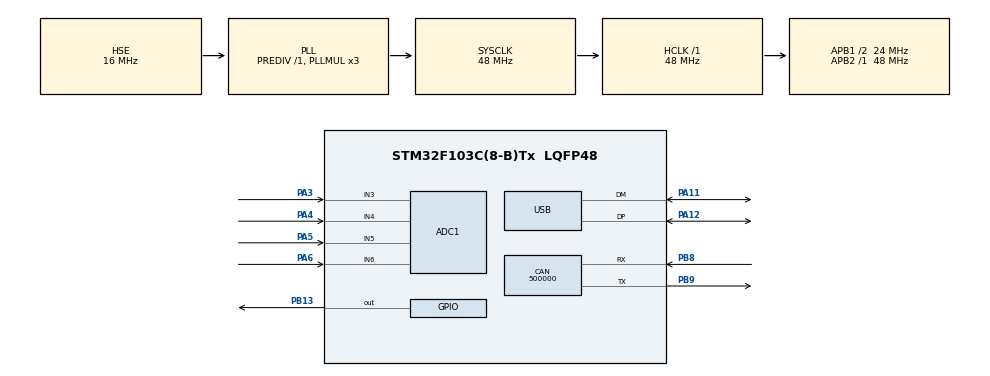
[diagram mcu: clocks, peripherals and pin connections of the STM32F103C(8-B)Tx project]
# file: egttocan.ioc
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ADC1.Channel-0\#ChannelRegularConversion=ADC_CHANNEL_3
ADC1.Channel-1\#ChannelRegularConversion=ADC_CHANNEL_4
ADC1.Channel-2\#ChannelRegularConversion=ADC_CHANNEL_5
ADC1.Channel-3\#ChannelRegularConversion=ADC_CHANNEL_6
ADC1.ContinuousConvMode=ENABLE
ADC1.NbrOfConversion=4
ADC1.NbrOfConversionFlag=1
ADC1.Rank-0\#ChannelRegularConversion=1
ADC1.Rank-1\#ChannelRegularConversion=2
ADC1.Rank-2\#ChannelRegularConversion=3
ADC1.Rank-3\#ChannelRegularConversion=4
ADC1.SamplingTime-0\#ChannelRegularConversion=ADC_SAMPLETIME_239CYCLES_5
ADC1.SamplingTime-1\#ChannelRegularConversion=ADC_SAMPLETIME_239CYCLES_5
ADC1.SamplingTime-2\#ChannelRegularConversion=ADC_SAMPLETIME_239CYCLES_5
ADC1.SamplingTime-3\#ChannelRegularConversion=ADC_SAMPLETIME_239CYCLES_5
ADC1.master=1
CAN.CalculateBaudRate=500000
CAN.CalculateTimeBit=2000
CAN.CalculateTimeQuantum=666.6666666666666
Dma.ADC1.0.Direction=DMA_PERIPH_TO_MEMORY
Dma.ADC1.0.Instance=DMA1_Channel1
Dma.ADC1.0.MemDataAlignment=DMA_MDATAALIGN_HALFWORD
Dma.ADC1.0.MemInc=DMA_MINC_ENABLE
Dma.ADC1.0.Mode=DMA_CIRCULAR
Dma.ADC1.0.PeriphDataAlignment=DMA_PDATAALIGN_HALFWORD
Dma.ADC1.0.PeriphInc=DMA_PINC_DISABLE
Dma.ADC1.0.Priority=DMA_PRIORITY_LOW
Dma.Request0=ADC1
Mcu.Family=STM32F1
Mcu.Name=STM32F103C(8-B)Tx
Mcu.Package=LQFP48
NVIC.DMA1_Channel1_IRQn=true\:2\:0\:true\:false\:true\:false\:true\:true
NVIC.PriorityGroup=NVIC_PRIORITYGROUP_4
NVIC.USB_LP_CAN1_RX0_IRQn=true\:0\:0\:false\:false\:true\:false\:true\:true
PA11.Mode=Device
PA11.Signal=USB_DM
PA12.Mode=Device
PA12.Signal=USB_DP
PA13.Mode=Serial_Wire
PA13.Signal=SYS_JTMS-SWDIO
PA14.Mode=Serial_Wire
PA14.Signal=SYS_JTCK-SWCLK
PA3.Signal=ADCx_IN3
PA4.Signal=ADCx_IN4
PA5.Signal=ADCx_IN5
PA6.Signal=ADCx_IN6
PB13.Signal=GPIO_Output
PB8.Mode=CAN_Activate
PB8.Signal=CAN_RX
PB9.Mode=CAN_Activate
PB9.Signal=CAN_TX
PD0-OSC_IN.Mode=HSE-External-Oscillator
PD0-OSC_IN.Signal=RCC_OSC_IN
PD1-OSC_OUT.Mode=HSE-External-Oscillator
PD1-OSC_OUT.Signal=RCC_OSC_OUT
ProjectManager.HeapSize=0x200
ProjectManager.StackSize=0x400
ProjectManager.TargetToolchain=STM32CubeIDE
RCC.ADCPresc=RCC_ADCPCLK2_DIV4
RCC.AHBFreq_Value=48000000
RCC.APB1CLKDivider=RCC_HCLK_DIV2
RCC.APB1Freq_Value=24000000
RCC.APB1TimFreq_Value=48000000
RCC.APB2Freq_Value=48000000
RCC.APB2TimFreq_Value=48000000
RCC.HCLKFreq_Value=48000000
RCC.HSE_VALUE=16000000
RCC.PLLMUL=RCC_PLL_MUL3
RCC.SYSCLKFreq_VALUE=48000000
RCC.SYSCLKSource=RCC_SYSCLKSOURCE_PLLCLK
RCC.USBFreq_Value=48000000
SH.ADCx_IN3.0=ADC1_IN3,IN3
SH.ADCx_IN4.0=ADC1_IN4,IN4
SH.ADCx_IN5.0=ADC1_IN5,IN5
SH.ADCx_IN6.0=ADC1_IN6,IN6
USB_DEVICE.CLASS_NAME_FS=CDC
USB_DEVICE.VirtualMode=Cdc
USB_DEVICE.VirtualModeFS=Cdc_FS
VP_USB_DEVICE_VS_USB_DEVICE_CDC_FS.Mode=CDC_FS
board=custom

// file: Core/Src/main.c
/* USER CODE BEGIN Header */
/**
  ******************************************************************************
  * @file           : main.c
  * @brief          : Main program body
  ******************************************************************************
  * @attention
  *
  * Copyright (c) 2024 STMicroelectronics.
  * All rights reserved.
  *
  * This software is licensed under terms that can be found in the LICENSE file
  * in the root directory of this software component.
  * If no LICENSE file comes with this software, it is provided AS-IS.
  *
  ******************************************************************************
  */
/* USER CODE END Header */
#include "main.h"
#include "usb_device.h"

/* USER CODE BEGIN Includes */
#include "usbd_cdc_if.h"
#include "string.h"
/* USER CODE END Includes */

ADC_HandleTypeDef hadc1;
DMA_HandleTypeDef hdma_adc1;

CAN_HandleTypeDef hcan;

void SystemClock_Config(void);
static void MX_GPIO_Init(void);
static void MX_DMA_Init(void);
static void MX_ADC1_Init(void);
static void MX_CAN_Init(void);
/* USER CODE BEGIN PFP */
uint16_t ADC_Conversion(uint16_t ucADCread);
uint16_t Thermocouple_Temp(uint16_t ADC_Voltage);
/* USER CODE END PFP */

/* USER CODE BEGIN 0 */
//uint8_t *data = "Hello World from USB CDC\n";
/* USER CODE END 0 */

int main(void)
{

  /* MCU Configuration--------------------------------------------------------*/

  /* Reset of all peripherals, Initializes the Flash interface and the Systick. */
  HAL_Init();

  /* Configure the system clock */
  SystemClock_Config();

  /* Initialize all configured peripherals */
  MX_GPIO_Init();
  MX_DMA_Init();
  MX_ADC1_Init();
  MX_CAN_Init();
  MX_USB_DEVICE_Init();

  /* Infinite loop */
  /* USER CODE BEGIN WHILE */
  volatile static uint16_t value[4];
  uint16_t voltage[4];
  uint16_t temp[4];

  HAL_ADCEx_Calibration_Start(&hadc1);
  HAL_ADC_Start_DMA(&hadc1, (uint32_t*)value, 4);

  while (1)
  {
	  for(int i = 0; i < 4; i++)
	  {
		  voltage[i] = ADC_Conversion(value[i]);
		  temp[i] = Thermocouple_Temp(voltage[i]);
	  }
	  //CDC_Transmit_FS(data, strlen(data));
	  HAL_GPIO_TogglePin(GPIOB, GPIO_PIN_13);
	  HAL_Delay(500);

    /* USER CODE END WHILE */

  }
}

void SystemClock_Config(void)
{
  RCC_OscInitTypeDef RCC_OscInitStruct = {0};
  RCC_ClkInitTypeDef RCC_ClkInitStruct = {0};
  RCC_PeriphCLKInitTypeDef PeriphClkInit = {0};

  /** Initializes the RCC Oscillators according to the specified parameters
  * in the RCC_OscInitTypeDef structure.
  */
  RCC_OscInitStruct.OscillatorType = RCC_OSCILLATORTYPE_HSE;
  RCC_OscInitStruct.HSEState = RCC_HSE_ON;
  RCC_OscInitStruct.HSEPredivValue = RCC_HSE_PREDIV_DIV1;
  RCC_OscInitStruct.HSIState = RCC_HSI_ON;
  RCC_OscInitStruct.PLL.PLLState = RCC_PLL_ON;
  RCC_OscInitStruct.PLL.PLLSource = RCC_PLLSOURCE_HSE;
  RCC_OscInitStruct.PLL.PLLMUL = RCC_PLL_MUL3;
  if (HAL_RCC_OscConfig(&RCC_OscInitStruct) != HAL_OK)
  {
    Error_Handler();
  }

  /** Initializes the CPU, AHB and APB buses clocks
  */
  RCC_ClkInitStruct.ClockType = RCC_CLOCKTYPE_HCLK|RCC_CLOCKTYPE_SYSCLK
                              |RCC_CLOCKTYPE_PCLK1|RCC_CLOCKTYPE_PCLK2;
  RCC_ClkInitStruct.SYSCLKSource = RCC_SYSCLKSOURCE_PLLCLK;
  RCC_ClkInitStruct.AHBCLKDivider = RCC_SYSCLK_DIV1;
  RCC_ClkInitStruct.APB1CLKDivider = RCC_HCLK_DIV2;
  RCC_ClkInitStruct.APB2CLKDivider = RCC_HCLK_DIV1;

  if (HAL_RCC_ClockConfig(&RCC_ClkInitStruct, FLASH_LATENCY_1) != HAL_OK)
  {
    Error_Handler();
  }
  PeriphClkInit.PeriphClockSelection = RCC_PERIPHCLK_ADC|RCC_PERIPHCLK_USB;
  PeriphClkInit.AdcClockSelection = RCC_ADCPCLK2_DIV4;
  PeriphClkInit.UsbClockSelection = RCC_USBCLKSOURCE_PLL;
  if (HAL_RCCEx_PeriphCLKConfig(&PeriphClkInit) != HAL_OK)
  {
    Error_Handler();
  }
}

static void MX_ADC1_Init(void)
{

  ADC_ChannelConfTypeDef sConfig = {0};

  /** Common config
  */
  hadc1.Instance = ADC1;
  hadc1.Init.ScanConvMode = ADC_SCAN_ENABLE;
  hadc1.Init.ContinuousConvMode = ENABLE;
  hadc1.Init.DiscontinuousConvMode = DISABLE;
  hadc1.Init.ExternalTrigConv = ADC_SOFTWARE_START;
  hadc1.Init.DataAlign = ADC_DATAALIGN_RIGHT;
  hadc1.Init.NbrOfConversion = 4;
  if (HAL_ADC_Init(&hadc1) != HAL_OK)
  {
    Error_Handler();
  }

  /** Configure Regular Channel
  */
  sConfig.Channel = ADC_CHANNEL_3;
  sConfig.Rank = ADC_REGULAR_RANK_1;
  sConfig.SamplingTime = ADC_SAMPLETIME_239CYCLES_5;
  if (HAL_ADC_ConfigChannel(&hadc1, &sConfig) != HAL_OK)
  {
    Error_Handler();
  }

  /** Configure Regular Channel
  */
  sConfig.Channel = ADC_CHANNEL_4;
  sConfig.Rank = ADC_REGULAR_RANK_2;
  if (HAL_ADC_ConfigChannel(&hadc1, &sConfig) != HAL_OK)
  {
    Error_Handler();
  }

  /** Configure Regular Channel
  */
  sConfig.Channel = ADC_CHANNEL_5;
  sConfig.Rank = ADC_REGULAR_RANK_3;
  if (HAL_ADC_ConfigChannel(&hadc1, &sConfig) != HAL_OK)
  {
    Error_Handler();
  }

  /** Configure Regular Channel
  */
  sConfig.Channel = ADC_CHANNEL_6;
  sConfig.Rank = ADC_REGULAR_RANK_4;
  if (HAL_ADC_ConfigChannel(&hadc1, &sConfig) != HAL_OK)
  {
    Error_Handler();
  }

}

static void MX_CAN_Init(void)
{

  hcan.Instance = CAN1;
  hcan.Init.Prescaler = 16;
  hcan.Init.Mode = CAN_MODE_NORMAL;
  hcan.Init.SyncJumpWidth = CAN_SJW_1TQ;
  hcan.Init.TimeSeg1 = CAN_BS1_1TQ;
  hcan.Init.TimeSeg2 = CAN_BS2_1TQ;
  hcan.Init.TimeTriggeredMode = DISABLE;
  hcan.Init.AutoBusOff = DISABLE;
  hcan.Init.AutoWakeUp = DISABLE;
  hcan.Init.AutoRetransmission = DISABLE;
  hcan.Init.ReceiveFifoLocked = DISABLE;
  hcan.Init.TransmitFifoPriority = DISABLE;
  if (HAL_CAN_Init(&hcan) != HAL_OK)
  {
    Error_Handler();
  }

}

static void MX_DMA_Init(void)
{

  /* DMA controller clock enable */
  __HAL_RCC_DMA1_CLK_ENABLE();

  /* DMA interrupt init */
  /* DMA1_Channel1_IRQn interrupt configuration */
  HAL_NVIC_SetPriority(DMA1_Channel1_IRQn, 2, 0);
  HAL_NVIC_EnableIRQ(DMA1_Channel1_IRQn);

}

static void MX_GPIO_Init(void)
{
  GPIO_InitTypeDef GPIO_InitStruct = {0};

  /* GPIO Ports Clock Enable */
  __HAL_RCC_GPIOD_CLK_ENABLE();
  __HAL_RCC_GPIOA_CLK_ENABLE();
  __HAL_RCC_GPIOB_CLK_ENABLE();

  /*Configure GPIO pin Output Level */
  HAL_GPIO_WritePin(GPIOB, GPIO_PIN_13, GPIO_PIN_RESET);

  /*Configure GPIO pin : PB13 */
  GPIO_InitStruct.Pin = GPIO_PIN_13;
  GPIO_InitStruct.Mode = GPIO_MODE_OUTPUT_PP;
  GPIO_InitStruct.Pull = GPIO_NOPULL;
  GPIO_InitStruct.Speed = GPIO_SPEED_FREQ_LOW;
  HAL_GPIO_Init(GPIOB, &GPIO_InitStruct);

}

/* USER CODE BEGIN 4 */
uint16_t ADC_Conversion(uint16_t ucADCread)
{
	uint16_t ADCvoltage;
	ADCvoltage = ucADCread * 8 / 10;
	return ADCvoltage;
}
uint16_t Thermocouple_Temp(uint16_t ADC_Voltage)
{
	uint16_t Tmj;
	Tmj = ADC_Voltage / 5;
	return Tmj;
}

/* USER CODE END 4 */

void Error_Handler(void)
{
  __disable_irq();
  while (1)
  {
  }
}
